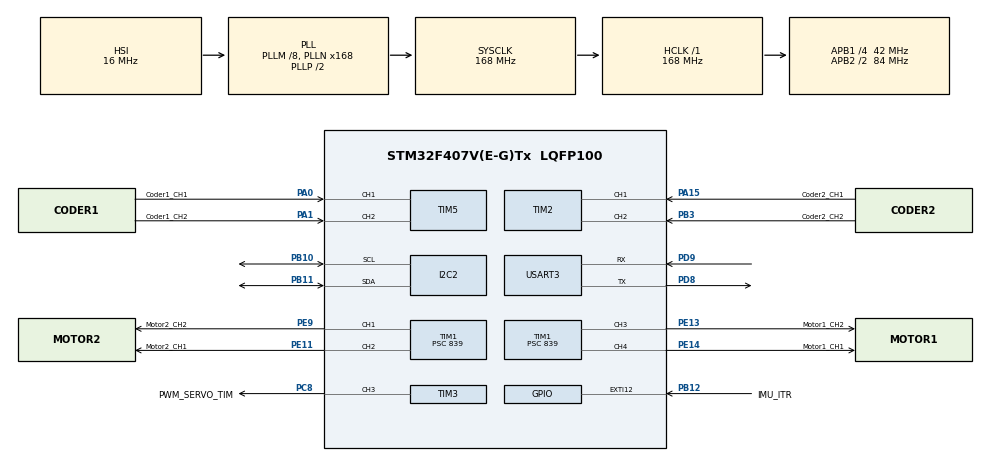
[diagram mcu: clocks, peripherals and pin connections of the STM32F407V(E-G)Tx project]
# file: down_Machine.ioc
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Dma.I2C2_RX.0.Direction=DMA_PERIPH_TO_MEMORY
Dma.I2C2_RX.0.FIFOMode=DMA_FIFOMODE_DISABLE
Dma.I2C2_RX.0.Instance=DMA1_Stream2
Dma.I2C2_RX.0.MemDataAlignment=DMA_MDATAALIGN_BYTE
Dma.I2C2_RX.0.MemInc=DMA_MINC_ENABLE
Dma.I2C2_RX.0.Mode=DMA_NORMAL
Dma.I2C2_RX.0.PeriphDataAlignment=DMA_PDATAALIGN_BYTE
Dma.I2C2_RX.0.PeriphInc=DMA_PINC_DISABLE
Dma.I2C2_RX.0.Priority=DMA_PRIORITY_VERY_HIGH
Dma.I2C2_TX.1.Direction=DMA_MEMORY_TO_PERIPH
Dma.I2C2_TX.1.FIFOMode=DMA_FIFOMODE_DISABLE
Dma.I2C2_TX.1.Instance=DMA1_Stream7
Dma.I2C2_TX.1.MemDataAlignment=DMA_MDATAALIGN_BYTE
Dma.I2C2_TX.1.MemInc=DMA_MINC_ENABLE
Dma.I2C2_TX.1.Mode=DMA_NORMAL
Dma.I2C2_TX.1.PeriphDataAlignment=DMA_PDATAALIGN_BYTE
Dma.I2C2_TX.1.PeriphInc=DMA_PINC_DISABLE
Dma.I2C2_TX.1.Priority=DMA_PRIORITY_VERY_HIGH
Dma.Request0=I2C2_RX
Dma.Request1=I2C2_TX
Dma.Request2=USART3_RX
Dma.Request3=USART3_TX
Dma.USART3_RX.2.Direction=DMA_PERIPH_TO_MEMORY
Dma.USART3_RX.2.FIFOMode=DMA_FIFOMODE_DISABLE
Dma.USART3_RX.2.Instance=DMA1_Stream1
Dma.USART3_RX.2.MemDataAlignment=DMA_MDATAALIGN_BYTE
Dma.USART3_RX.2.MemInc=DMA_MINC_ENABLE
Dma.USART3_RX.2.Mode=DMA_NORMAL
Dma.USART3_RX.2.PeriphDataAlignment=DMA_PDATAALIGN_BYTE
Dma.USART3_RX.2.PeriphInc=DMA_PINC_DISABLE
Dma.USART3_RX.2.Priority=DMA_PRIORITY_HIGH
Dma.USART3_TX.3.Direction=DMA_MEMORY_TO_PERIPH
Dma.USART3_TX.3.FIFOMode=DMA_FIFOMODE_DISABLE
Dma.USART3_TX.3.Instance=DMA1_Stream3
Dma.USART3_TX.3.MemDataAlignment=DMA_MDATAALIGN_BYTE
Dma.USART3_TX.3.MemInc=DMA_MINC_ENABLE
Dma.USART3_TX.3.Mode=DMA_NORMAL
Dma.USART3_TX.3.PeriphDataAlignment=DMA_PDATAALIGN_BYTE
Dma.USART3_TX.3.PeriphInc=DMA_PINC_DISABLE
Dma.USART3_TX.3.Priority=DMA_PRIORITY_HIGH
FREERTOS.Tasks01=defaultTask,8,128,StartDefaultTask,Default,NULL,Dynamic,NULL,NULL;myTask01,32,512,Send_and_Receive,Default,NULL,Dynamic,NULL,NULL;myTask02,26,512,Read_IMU,Default,NULL,Dynamic,NULL,NULL;myTask03,25,256,Control,Default,NULL,Dynamic,NULL,NULL;myTask04,28,512,UART_Tx_Task,Default,NULL,Dynamic,NULL,NULL
FREERTOS.configENABLE_FPU=1
Mcu.Family=STM32F4
Mcu.Name=STM32F407V(E-G)Tx
Mcu.Package=LQFP100
NVIC.DMA1_Stream1_IRQn=true\:5\:0\:false\:false\:true\:true\:false\:true\:true
NVIC.DMA1_Stream2_IRQn=true\:5\:0\:false\:false\:true\:true\:false\:true\:true
NVIC.DMA1_Stream3_IRQn=true\:5\:0\:false\:false\:true\:true\:false\:true\:true
NVIC.DMA1_Stream7_IRQn=true\:5\:0\:false\:false\:true\:true\:false\:true\:true
NVIC.EXTI15_10_IRQn=true\:5\:0\:false\:false\:true\:true\:true\:true\:true
NVIC.FLASH_IRQn=true\:5\:0\:false\:false\:true\:true\:true\:true\:true
NVIC.FPU_IRQn=true\:5\:0\:false\:false\:true\:true\:true\:false\:true
NVIC.I2C2_ER_IRQn=true\:5\:0\:false\:false\:true\:true\:true\:true\:true
NVIC.I2C2_EV_IRQn=true\:5\:0\:false\:false\:true\:true\:true\:true\:true
NVIC.PVD_IRQn=true\:5\:0\:false\:false\:true\:true\:true\:true\:true
NVIC.PriorityGroup=NVIC_PRIORITYGROUP_4
NVIC.RCC_IRQn=true\:5\:0\:false\:false\:true\:true\:true\:false\:true
NVIC.TIM1_BRK_TIM9_IRQn=true\:5\:0\:false\:false\:true\:true\:true\:true\:true
NVIC.TIM1_CC_IRQn=true\:5\:0\:false\:false\:true\:true\:true\:true\:true
NVIC.TIM1_TRG_COM_TIM11_IRQn=true\:5\:0\:false\:false\:true\:true\:true\:true\:true
NVIC.TIM1_UP_TIM10_IRQn=true\:5\:0\:false\:false\:true\:true\:true\:true\:true
NVIC.TIM2_IRQn=true\:7\:0\:true\:false\:true\:true\:true\:true\:true
NVIC.TIM3_IRQn=true\:7\:0\:true\:false\:true\:true\:true\:true\:true
NVIC.TIM5_IRQn=true\:7\:0\:true\:false\:true\:true\:true\:true\:true
NVIC.TIM6_DAC_IRQn=true\:6\:0\:true\:false\:true\:true\:true\:true\:true
NVIC.TIM8_TRG_COM_TIM14_IRQn=true\:15\:0\:false\:false\:true\:false\:false\:true\:true
NVIC.TimeBase=TIM8_TRG_COM_TIM14_IRQn
NVIC.TimeBaseIP=TIM14
NVIC.USART3_IRQn=true\:5\:0\:true\:false\:true\:true\:true\:true\:true
PA0-WKUP.GPIO_Label=Coder1_CH1
PA0-WKUP.Signal=S_TIM5_CH1
PA1.GPIO_Label=Coder1_CH2
PA1.Signal=S_TIM5_CH2
PA15.GPIO_Label=Coder2_CH1
PA15.Signal=S_TIM2_CH1_ETR
PB10.GPIO_Pu=GPIO_PULLUP
PB10.Mode=I2C
PB10.Signal=I2C2_SCL
PB11.GPIO_Pu=GPIO_PULLUP
PB11.Mode=I2C
PB11.Signal=I2C2_SDA
PB12.GPIO_Label=IMU_ITR
PB12.Signal=GPXTI12
PB3.GPIO_Label=Coder2_CH2
PB3.Signal=S_TIM2_CH2
PC14-OSC32_IN.Mode=LSE-External-Oscillator
PC14-OSC32_IN.Signal=RCC_OSC32_IN
PC15-OSC32_OUT.Mode=LSE-External-Oscillator
PC15-OSC32_OUT.Signal=RCC_OSC32_OUT
PC8.GPIO_Label=PWM_SERVO_TIM
PC8.GPIO_Speed=GPIO_SPEED_FREQ_HIGH
PC8.Signal=S_TIM3_CH3
PD8.Mode=Asynchronous
PD8.Signal=USART3_TX
PD9.Mode=Asynchronous
PD9.Signal=USART3_RX
PE11.GPIO_Label=Motor2_CH1
PE11.GPIO_Speed=GPIO_SPEED_FREQ_HIGH
PE11.Signal=S_TIM1_CH2
PE13.GPIO_Label=Motor1_CH2
PE13.GPIO_Speed=GPIO_SPEED_FREQ_HIGH
PE13.Signal=S_TIM1_CH3
PE14.GPIO_Label=Motor1_CH1
PE14.GPIO_Speed=GPIO_SPEED_FREQ_HIGH
PE14.Signal=S_TIM1_CH4
PE9.GPIO_Label=Motor2_CH2
PE9.GPIO_Speed=GPIO_SPEED_FREQ_HIGH
PE9.Signal=S_TIM1_CH1
PH0-OSC_IN.Mode=HSE-External-Oscillator
PH0-OSC_IN.Signal=RCC_OSC_IN
PH1-OSC_OUT.Mode=HSE-External-Oscillator
PH1-OSC_OUT.Signal=RCC_OSC_OUT
ProjectManager.HeapSize=0x200
ProjectManager.StackSize=0x400
ProjectManager.TargetToolchain=CMake
RCC.48MHZClocksFreq_Value=84000000
RCC.AHBFreq_Value=168000000
RCC.APB1CLKDivider=RCC_HCLK_DIV4
RCC.APB1Freq_Value=42000000
RCC.APB1TimFreq_Value=84000000
RCC.APB2CLKDivider=RCC_HCLK_DIV2
RCC.APB2Freq_Value=84000000
RCC.APB2TimFreq_Value=168000000
RCC.CortexFreq_Value=168000000
RCC.HCLKFreq_Value=168000000
RCC.HSE_VALUE=25000000
RCC.HSI_VALUE=16000000
RCC.PLLM=8
RCC.PLLN=168
RCC.SYSCLKFreq_VALUE=168000000
RCC.SYSCLKSource=RCC_SYSCLKSOURCE_PLLCLK
RCC.VCOOutputFreq_Value=336000000
SH.S_TIM1_CH1.0=TIM1_CH1,PWM Generation1 CH1
SH.S_TIM1_CH2.0=TIM1_CH2,PWM Generation2 CH2
SH.S_TIM1_CH3.0=TIM1_CH3,PWM Generation3 CH3
SH.S_TIM1_CH4.0=TIM1_CH4,PWM Generation4 CH4
SH.S_TIM2_CH1_ETR.0=TIM2_CH1,Encoder_Interface
SH.S_TIM2_CH2.0=TIM2_CH2,Encoder_Interface
SH.S_TIM3_CH3.0=TIM3_CH3,PWM Generation3 CH3
SH.S_TIM5_CH1.0=TIM5_CH1,Encoder_Interface
SH.S_TIM5_CH2.0=TIM5_CH2,Encoder_Interface
TIM1.AutoReloadPreload=TIM_AUTORELOAD_PRELOAD_ENABLE
TIM1.Channel-PWM\ Generation1\ CH1=TIM_CHANNEL_1
TIM1.Channel-PWM\ Generation2\ CH2=TIM_CHANNEL_2
TIM1.Channel-PWM\ Generation3\ CH3=TIM_CHANNEL_3
TIM1.Channel-PWM\ Generation4\ CH4=TIM_CHANNEL_4
TIM1.Period=999
TIM1.Prescaler=839
TIM3.AutoReloadPreload=TIM_AUTORELOAD_PRELOAD_ENABLE
TIM3.Channel-PWM\ Generation3\ CH3=TIM_CHANNEL_3
TIM3.Period=3359
TIM3.Prescaler=999
TIM6.Period=99
TIM6.Prescaler=8399
USART3.VirtualMode=VM_ASYNC
VP_FREERTOS_VS_CMSIS_V2.Mode=CMSIS_V2
VP_SYS_VS_tim14.Mode=TIM14
VP_TIM1_VS_ClockSourceINT.Mode=Internal
VP_TIM6_VS_ClockSourceINT.Mode=Enable_Timer
board=custom

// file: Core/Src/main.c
/* USER CODE BEGIN Header */
/**
  ******************************************************************************
  * @file           : main.c
  * @brief          : Main program body
  ******************************************************************************
  * @attention
  *
  * Copyright (c) 2026 STMicroelectronics.
  * All rights reserved.
  *
  * This software is licensed under terms that can be found in the LICENSE file
  * in the root directory of this software component.
  * If no LICENSE file comes with this software, it is provided AS-IS.
  *
  ******************************************************************************
  */
/* USER CODE END Header */
#include "main.h"
#include "cmsis_os.h"
#include "dma.h"
#include "i2c.h"
#include "tim.h"
#include "usart.h"
#include "gpio.h"

/* USER CODE BEGIN Includes */
#include "encoder_motor.h"
#include "motor_porting.h"
#include "QMI8658.h"
/* USER CODE END Includes */

/* USER CODE BEGIN PV */
extern EncoderMotorObjectTypeDef motor1;
extern EncoderMotorObjectTypeDef motor2;
/* USER CODE END PV */

void SystemClock_Config(void);
void MX_FREERTOS_Init(void);

int main(void)
{

  /* MCU Configuration--------------------------------------------------------*/

  /* Reset of all peripherals, Initializes the Flash interface and the Systick. */
  HAL_Init();

  /* Configure the system clock */
  SystemClock_Config();

  /* Initialize all configured peripherals */
  MX_GPIO_Init();
  MX_DMA_Init();
  MX_I2C2_Init();
  MX_USART3_UART_Init();
  MX_TIM1_Init();
  MX_TIM2_Init();
  MX_TIM5_Init();
  MX_TIM6_Init();
  MX_TIM3_Init();
  /* USER CODE BEGIN 2 */
  // 初始化电机和舵机
  //
  // motor_init();
  //
  // HAL_TIM_PWM_Start(&htim3, TIM_CHANNEL_3);
  // uint32_t ccr_init = 90;
  // __HAL_TIM_SET_COMPARE(&htim3, TIM_CHANNEL_3, ccr_init);
  // encoder_motor_set_speed(&motor1, 2.0); // 设置目标转速
  // encoder_motor_set_speed(&motor2, -2.0); // 设置目标转速
  /* USER CODE END 2 */

  /* Init scheduler */
  osKernelInitialize();  /* Call init function for freertos objects (in cmsis_os2.c) */
  MX_FREERTOS_Init();

  /* Start scheduler */
  osKernelStart();

  /* We should never get here as control is now taken by the scheduler */

  /* Infinite loop */
  while (1)
  {

  }
}

void SystemClock_Config(void)
{
  RCC_OscInitTypeDef RCC_OscInitStruct = {0};
  RCC_ClkInitTypeDef RCC_ClkInitStruct = {0};

  /** Configure the main internal regulator output voltage
  */
  __HAL_RCC_PWR_CLK_ENABLE();
  __HAL_PWR_VOLTAGESCALING_CONFIG(PWR_REGULATOR_VOLTAGE_SCALE1);

  /** Initializes the RCC Oscillators according to the specified parameters
  * in the RCC_OscInitTypeDef structure.
  */
  RCC_OscInitStruct.OscillatorType = RCC_OSCILLATORTYPE_HSI;
  RCC_OscInitStruct.HSIState = RCC_HSI_ON;
  RCC_OscInitStruct.HSICalibrationValue = RCC_HSICALIBRATION_DEFAULT;
  RCC_OscInitStruct.PLL.PLLState = RCC_PLL_ON;
  RCC_OscInitStruct.PLL.PLLSource = RCC_PLLSOURCE_HSI;
  RCC_OscInitStruct.PLL.PLLM = 8;
  RCC_OscInitStruct.PLL.PLLN = 168;
  RCC_OscInitStruct.PLL.PLLP = RCC_PLLP_DIV2;
  RCC_OscInitStruct.PLL.PLLQ = 4;
  if (HAL_RCC_OscConfig(&RCC_OscInitStruct) != HAL_OK)
  {
    Error_Handler();
  }

  /** Initializes the CPU, AHB and APB buses clocks
  */
  RCC_ClkInitStruct.ClockType = RCC_CLOCKTYPE_HCLK|RCC_CLOCKTYPE_SYSCLK
                              |RCC_CLOCKTYPE_PCLK1|RCC_CLOCKTYPE_PCLK2;
  RCC_ClkInitStruct.SYSCLKSource = RCC_SYSCLKSOURCE_PLLCLK;
  RCC_ClkInitStruct.AHBCLKDivider = RCC_SYSCLK_DIV1;
  RCC_ClkInitStruct.APB1CLKDivider = RCC_HCLK_DIV4;
  RCC_ClkInitStruct.APB2CLKDivider = RCC_HCLK_DIV2;

  if (HAL_RCC_ClockConfig(&RCC_ClkInitStruct, FLASH_LATENCY_5) != HAL_OK)
  {
    Error_Handler();
  }
}

void HAL_TIM_PeriodElapsedCallback(TIM_HandleTypeDef *htim)
{
  if (htim->Instance == TIM14)
  {
    HAL_IncTick();
  }
  /* USER CODE BEGIN Callback 1 */
  if (htim->Instance == TIM6)
  {
    float dt = 0.01f;  // 10ms 控制周期

    // 1. 读取编码器计数值并更新电机对象
    uint32_t cnt1 = __HAL_TIM_GET_COUNTER(&htim5);
    uint32_t cnt2 = __HAL_TIM_GET_COUNTER(&htim2);
    encoder_update(&motor1, dt, cnt1);
    encoder_update(&motor2, dt, cnt2);

    // 2. 执行 PID 控制，更新 PWM 输出
    encoder_motor_control(&motor1, dt);
    encoder_motor_control(&motor2, dt);
  }
  /* USER CODE END Callback 1 */
}

void Error_Handler(void)
{
  __disable_irq();
  while (1)
  {
  }
}

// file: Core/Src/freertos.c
/* USER CODE BEGIN Header */
/* USER CODE END Header */

#include "FreeRTOS.h"
#include "task.h"
#include "main.h"
#include "cmsis_os.h"

/* USER CODE BEGIN Includes */
#include <string.h>
#include "comm_protocol.h"
#include "usart.h"
#include "encoder_motor.h"
#include "motor_porting.h"
#include "QMI8658.h"
#include "queue.h"
#include "semphr.h"
#include "tim.h"
/* USER CODE END Includes */

/* USER CODE BEGIN PD */
// static TelemetryPacket cmd;
// static CommandPacket txPacket;

float roll = 0.0f, pitch = 0.0f, yaw = 0.0f;
float act_rps_1 = 0.0f, act_rps_2 = 0.0f;

float target_rps_1 = 0.0f, target_rps_2 = 0.0f;
uint16_t servo_angle = 0;

/* 任务间通信对象 */
static QueueHandle_t telemetryQueue = NULL;      // 存放遥测数据的队列
static SemaphoreHandle_t uartTxCompleteSem = NULL; // DMA发送完成信号量
/* USER CODE END PD */

/* Definitions for defaultTask */
osThreadId_t defaultTaskHandle;
const osThreadAttr_t defaultTask_attributes = {
  .name = "defaultTask",
  .stack_size = 128 * 4,
  .priority = (osPriority_t) osPriorityLow,
};
/* Definitions for myTask01 */
osThreadId_t myTask01Handle;
const osThreadAttr_t myTask01_attributes = {
  .name = "myTask01",
  .stack_size = 512 * 4,
  .priority = (osPriority_t) osPriorityAboveNormal,
};
/* Definitions for myTask02 */
osThreadId_t myTask02Handle;
const osThreadAttr_t myTask02_attributes = {
  .name = "myTask02",
  .stack_size = 512 * 4,
  .priority = (osPriority_t) osPriorityNormal2,
};
/* Definitions for myTask03 */
osThreadId_t myTask03Handle;
const osThreadAttr_t myTask03_attributes = {
  .name = "myTask03",
  .stack_size = 256 * 4,
  .priority = (osPriority_t) osPriorityNormal1,
};
/* Definitions for myTask04 */
osThreadId_t myTask04Handle;
const osThreadAttr_t myTask04_attributes = {
  .name = "myTask04",
  .stack_size = 512 * 4,
  .priority = (osPriority_t) osPriorityNormal4,
};

void StartDefaultTask(void *argument);
void Send_and_Receive(void *argument);
void Read_IMU(void *argument);
void Control(void *argument);
void UART_Tx_Task(void *argument);

void MX_FREERTOS_Init(void); /* (MISRA C 2004 rule 8.1) */

void MX_FREERTOS_Init(void) {
  /* USER CODE BEGIN Init */

  //初始化姿态传感器
  if (QMI8658_Init()) {
  } else {
    Error_Handler();
  }

  //初始化舵机
  HAL_TIM_PWM_Start(&htim3, TIM_CHANNEL_3);
  uint16_t angle_init = 90;
  __HAL_TIM_SET_COMPARE(&htim3, TIM_CHANNEL_3, angle_init);

  motor_init();                      // 初始化电机

  /* 创建队列和信号量 */
  telemetryQueue = xQueueCreate(5, sizeof(TelemetryPacket)); // 最多缓存5个遥测包
  uartTxCompleteSem = xSemaphoreCreateBinary();
  if (telemetryQueue == NULL || uartTxCompleteSem == NULL) {
    Error_Handler();
  }

  /* USER CODE END Init */

  /* Create the thread(s) */
  /* creation of defaultTask */
  defaultTaskHandle = osThreadNew(StartDefaultTask, NULL, &defaultTask_attributes);

  /* creation of myTask01 */
  myTask01Handle = osThreadNew(Send_and_Receive, NULL, &myTask01_attributes);

  /* creation of myTask02 */
  myTask02Handle = osThreadNew(Read_IMU, NULL, &myTask02_attributes);

  /* creation of myTask03 */
  myTask03Handle = osThreadNew(Control, NULL, &myTask03_attributes);

  /* creation of myTask04 */
  myTask04Handle = osThreadNew(UART_Tx_Task, NULL, &myTask04_attributes);

}

void StartDefaultTask(void *argument)
{
  for(;;)
  {
    osDelay(1);
  }
}

void Send_and_Receive(void *argument)
{
  /* USER CODE BEGIN Send_and_Receive */
  uint8_t rx_buffer[sizeof(CommandPacket)];
  CommandPacket cmd;
  TelemetryPacket txPacket;
  /* Infinite loop */
  for(;;)
  {
    // 接收命令（阻塞10ms）
    if (HAL_UART_Receive(&huart3, rx_buffer, sizeof(CommandPacket), 10) == HAL_OK) {
      memcpy(&cmd, rx_buffer, sizeof(CommandPacket));
      target_rps_1 = cmd.motor1_target_rps;
      target_rps_2 = cmd.motor2_target_rps;
      servo_angle = cmd.servo_angle;
    }

    // 构造遥测数据
    txPacket.roll = roll;
    txPacket.pitch = pitch;
    txPacket.yaw = yaw;
    txPacket.motor1_actual_rps = motor1.rps;
    txPacket.motor2_actual_rps = motor2.rps;

    // 将遥测数据放入队列（非阻塞，如果队列满则丢弃旧数据）
    xQueueSend(telemetryQueue, &txPacket, 0);

    osDelay(1);  // 适当延时
  }
  /* USER CODE END Send_and_Receive */
}

void Read_IMU(void *argument)
{
  /* USER CODE BEGIN Read_IMU */
  /* Infinite loop */
  for(;;)
  {
    QMI8658_GetEulerSimple(&roll, &pitch, &yaw);
    osDelay(10);
  }
  /* USER CODE END Read_IMU */
}

void Control(void *argument)
{
  /* USER CODE BEGIN Control */
  /* Infinite loop */
  for(;;)
  {
    encoder_motor_set_speed(&motor1, target_rps_1);
    encoder_motor_set_speed(&motor2, -target_rps_2);

    __HAL_TIM_SET_COMPARE(&htim3, TIM_CHANNEL_3, servo_angle);

    osDelay(1);
  }
  /* USER CODE END Control */
}

void UART_Tx_Task(void *argument)
{
  /* USER CODE BEGIN UART_Tx_Task */
  TelemetryPacket txPacket;
  uint8_t tx_buffer[sizeof(TelemetryPacket)];
  BaseType_t xResult;
  /* Infinite loop */
  for(;;)
  {
    // 等待队列中的遥测数据（阻塞等待）
    xResult = xQueueReceive(telemetryQueue, &txPacket, portMAX_DELAY);
    if (xResult == pdPASS)
    {
      // 将数据复制到静态缓冲区（确保DMA期间不被修改）
      memcpy(tx_buffer, &txPacket, sizeof(TelemetryPacket));

      // 启动DMA发送
      if (HAL_UART_Transmit_DMA(&huart3, tx_buffer, sizeof(TelemetryPacket)) != HAL_OK)
      {
        // 发送失败处理，可重试或丢弃
        continue;
      }

      // 等待发送完成信号量（超时时间可配置）
      if (xSemaphoreTake(uartTxCompleteSem, pdMS_TO_TICKS(100)) != pdTRUE)
      {
        // 超时，可能DMA卡死，可尝试中止发送
        HAL_UART_AbortTransmit(&huart3);
      }
    }
    osDelay(1);
  }
  /* USER CODE END UART_Tx_Task */
}

/* USER CODE BEGIN Application */
void HAL_UART_TxCpltCallback(UART_HandleTypeDef *huart)
{
  if (huart->Instance == USART3)
  {
    BaseType_t xHigherPriorityTaskWoken = pdFALSE;
    xSemaphoreGiveFromISR(uartTxCompleteSem, &xHigherPriorityTaskWoken);
    portYIELD_FROM_ISR(xHigherPriorityTaskWoken);
  }
}
/* USER CODE END Application */
